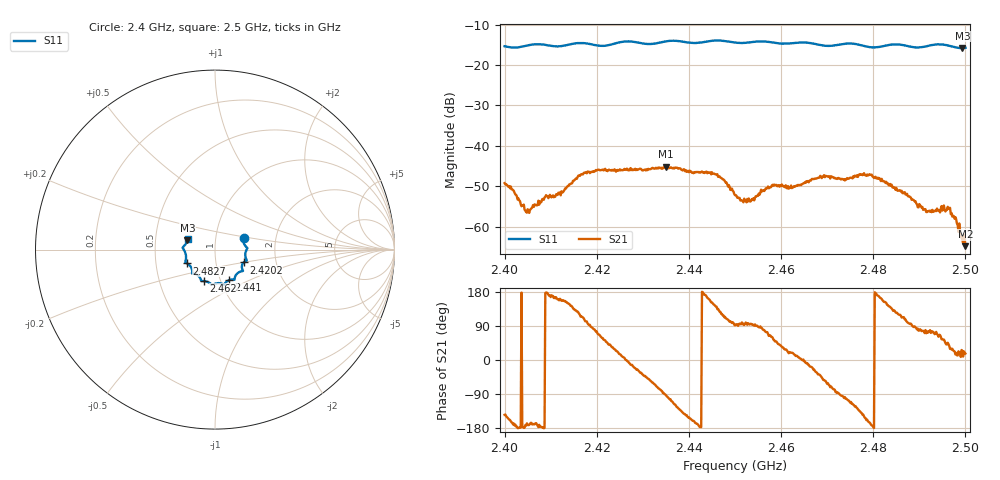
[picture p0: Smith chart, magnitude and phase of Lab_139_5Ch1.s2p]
# Hz S RI R 50
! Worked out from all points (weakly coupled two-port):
!   601 points, 2.4 GHz to 2.5 GHz, reference 50 ohm
!   highest |S21| = -45.19 dB at 2.435 GHz (marker M1); lowest = -64.8 dB at 2.5 GHz (marker M2)
!   lowest |S11| = -15.8 dB at 2.4993 GHz (marker M3), VSWR 1.39, Z = 36.5 + j3.81 ohm
!   |S11| at or under -10 dB: start of sweep to end of sweep
!   S12 and S22 are empty: the file has one direction only
!   S11 on the Smith chart (normalised r, x): 2.4 GHz: 1.36, +0.18; 2.4202 GHz: 1.36, -0.20; 2.441 GHz: 1.10, -0.39; 2.462 GHz: 0.84, -0.30; 2.4827 GHz: 0.72, -0.11; 2.5 GHz: 0.73, +0.09
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2.4e9  0.1588 0.0626  -0.00282 -0.00199  0 0  0 0
2.405e9  0.1744 0.0141  -0.00162 -0.000239  0 0  0 0
2.408667e9  0.1782 0.00315  -0.00229 -2.5e-05  0 0  0 0
2.412333e9  0.1687 -0.0315  -0.00251 0.0011  0 0  0 0
2.416667e9  0.1773 -0.0608  -0.00188 0.00405  0 0  0 0
2.420167e9  0.1589 -0.0716  0.00175 0.00472  0 0  0 0
2.433333e9  0.1117 -0.1506  0.00141 -0.00506  0 0  0 0
2.435e9  0.1094 -0.1629  -0.000261 -0.0055  0 0  0 0
2.441e9  0.0789 -0.1699  -0.00432 -0.00153  0 0  0 0
2.446167e9  0.0494 -0.1953  -0.00311 0.00319  0 0  0 0
2.45e9  0.0287 -0.1874  -5.87e-05 0.00245  0 0  0 0
2.453e9  -0.000515 -0.1902  -0.000211 0.00222  0 0  0 0
2.4585e9  -0.0285 -0.1867  0.00201 0.00264  0 0  0 0
2.462e9  -0.0602 -0.1753  0.00284 0.00103  0 0  0 0
2.466667e9  -0.0788 -0.1683  0.00368 -0.00127  0 0  0 0
2.477667e9  -0.1271 -0.1191  -0.00352 -0.00253  0 0  0 0
2.482667e9  -0.1558 -0.077  -0.00307 0.00161  0 0  0 0
2.483333e9  -0.1601 -0.075  -0.00257 0.00201  0 0  0 0
2.491333e9  -0.1694 -0.00844  0.000315 0.00161  0 0  0 0
2.4965e9  -0.172 0.0201  0.00136 0.00102  0 0  0 0
2.499333e9  -0.154 0.0509  0.000629 0.000285  0 0  0 0
2.5e9  -0.1521 0.0601  0.000547 0.000168  0 0  0 0
